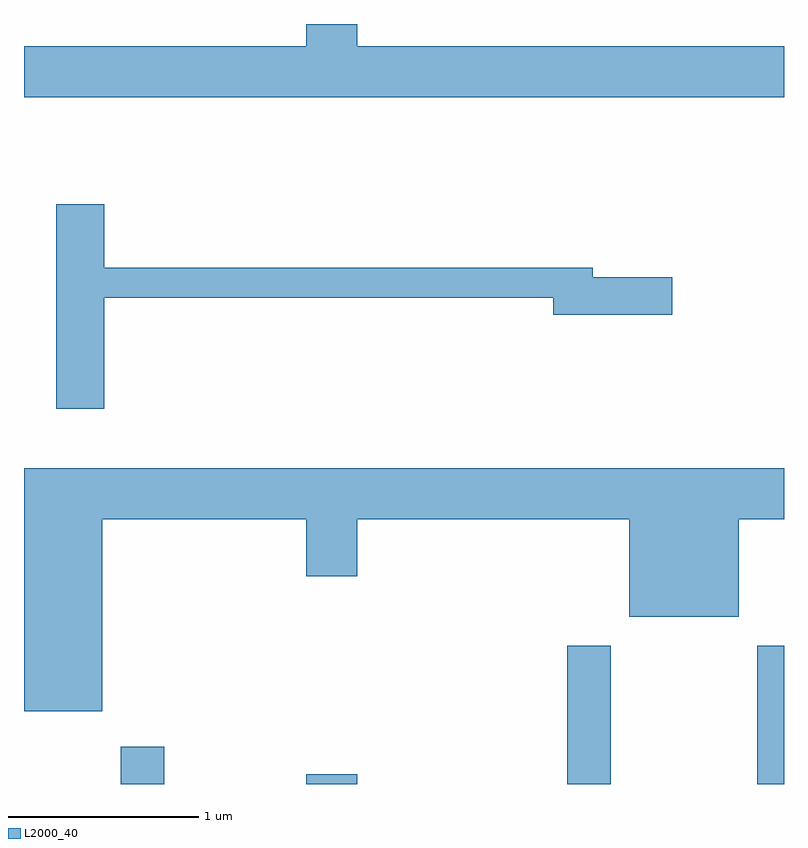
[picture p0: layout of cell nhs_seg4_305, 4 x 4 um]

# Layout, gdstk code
import gdstk
lib = gdstk.Library(unit=1e-6, precision=1e-09)
def R(c, l, rs):  # rectangles x0, y0, x1, y1
    for r in rs: c.add(gdstk.rectangle(r[:2], r[2:], *l))
def P(c, l, *ps):  # polygons
    for p in ps: c.add(gdstk.Polygon(p, *l))
L2000_40 = (2000, 40)

nhs_seg4_305 = lib.new_cell('nhs_seg4_305')
R(nhs_seg4_305, L2000_40, [(194.121,1319.982,194.349,1320.179), (195.096,1319.982,195.364,1320.034), (196.471,1319.982,196.699,1320.709), (197.471,1319.982,197.611,1320.709)])
P(nhs_seg4_305, L2000_40, [(197.611,1323.864),(195.364,1323.864),(195.364,1323.982),(195.096,1323.982),(195.096,1323.864),(193.611,1323.864),(193.611,1323.596),(197.611,1323.596)],
  [(194.034,1322.541),(196.396,1322.541),(196.396,1322.451),(197.024,1322.451),(197.024,1322.649),(196.604,1322.649),(196.604,1322.699),(194.034,1322.699),(194.034,1323.034),(193.781,1323.034),(193.781,1321.956),(194.034,1321.956)],
  [(194.024,1321.376),(195.096,1321.376),(195.096,1321.076),(195.364,1321.076),(195.364,1321.376),(196.796,1321.376),(196.796,1320.861),(197.374,1320.861),(197.374,1321.376),(197.611,1321.376),(197.611,1321.644),(193.611,1321.644),(193.611,1320.366),(194.024,1320.366)])

lib.write_gds('nhs_seg4_305.gds')
